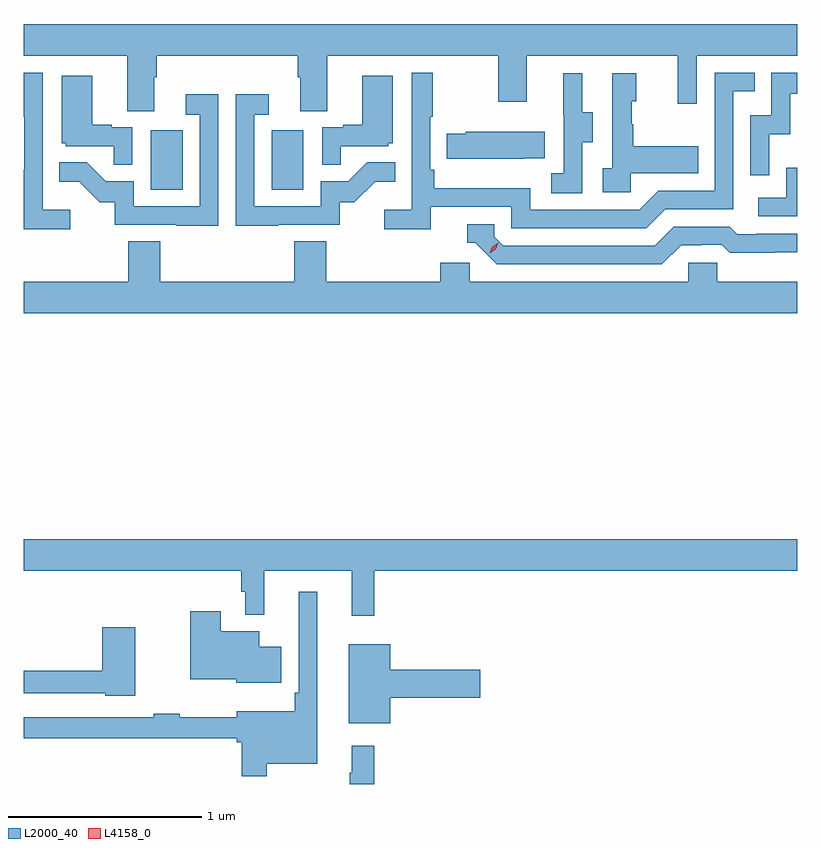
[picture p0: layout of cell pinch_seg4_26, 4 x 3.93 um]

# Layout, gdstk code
import gdstk
lib = gdstk.Library(unit=1e-6, precision=1e-09)
def R(c, l, rs):  # rectangles x0, y0, x1, y1
    for r in rs: c.add(gdstk.rectangle(r[:2], r[2:], *l))
def P(c, l, *ps):  # polygons
    for p in ps: c.add(gdstk.Polygon(p, *l))
L2000_40 = (2000, 40)
L4158_0 = (4158, 0)

pinch_seg4_26 = lib.new_cell('pinch_seg4_26')
R(pinch_seg4_26, L2000_40, [(1107.086,824.1,1107.25,824.407), (1107.71,824.1,1107.874,824.407)])
P(pinch_seg4_26, L2000_40, [(1107.103,824.68),(1107.116,824.68),(1107.116,824.792),(1107.845,824.792),(1107.845,824.68),(1107.857,824.68),(1107.857,824.506),(1107.997,824.506),(1107.997,824.792),(1108.882,824.792),(1108.882,824.553),(1109.029,824.553),(1109.029,824.792),(1109.81,824.792),(1109.81,824.544),(1109.907,824.544),(1109.907,824.792),(1110.428,824.792),(1110.428,824.956),(1106.428,824.956),(1106.428,824.792),(1106.963,824.792),(1106.963,824.506),(1107.103,824.506)],
  [(1106.668,823.996),(1106.526,823.996),(1106.526,824.704),(1106.428,824.704),(1106.428,824.476),(1106.43,824.476),(1106.43,824.203),(1106.428,824.203),(1106.428,824.01),(1106.429,824.01),(1106.429,823.894),(1106.668,823.894)],
  [(1108.532,824.01),(1108.95,824.01),(1108.95,823.899),(1109.647,823.899),(1109.746,823.998),(1110.096,823.998),(1110.096,824.607),(1110.209,824.607),(1110.209,824.703),(1110,824.703),(1110,824.094),(1109.709,824.094),(1109.61,823.995),(1109.046,823.995),(1109.046,824.107),(1108.55,824.107),(1108.55,824.203),(1108.53,824.203),(1108.53,824.476),(1108.543,824.476),(1108.543,824.704),(1108.434,824.704),(1108.434,823.996),(1108.293,823.996),(1108.293,823.894),(1108.532,823.894)],
  [(1110.282,824.387),(1110.392,824.387),(1110.392,824.595),(1110.428,824.595),(1110.428,824.703),(1110.294,824.703),(1110.294,824.484),(1110.186,824.484),(1110.186,824.175),(1110.282,824.175)],
  [(1109.568,824.183),(1109.915,824.183),(1109.915,824.323),(1109.581,824.323),(1109.581,824.438),(1109.571,824.438),(1109.571,824.556),(1109.596,824.556),(1109.596,824.701),(1109.472,824.701),(1109.472,824.21),(1109.421,824.21),(1109.421,824.085),(1109.568,824.085)],
  [(1109.316,824.344),(1109.371,824.344),(1109.371,824.499),(1109.317,824.499),(1109.317,824.701),(1109.219,824.701),(1109.219,824.487),(1109.22,824.487),(1109.22,824.183),(1109.157,824.183),(1109.157,824.08),(1109.316,824.08)],
  [(1106.988,824.421),(1106.882,824.421),(1106.882,824.434),(1106.782,824.434),(1106.782,824.689),(1106.624,824.689),(1106.624,824.34),(1106.646,824.34),(1106.646,824.325),(1106.893,824.325),(1106.893,824.227),(1106.988,824.227)],
  [(1108.067,824.325),(1108.314,824.325),(1108.314,824.34),(1108.336,824.34),(1108.336,824.689),(1108.178,824.689),(1108.178,824.434),(1108.079,824.434),(1108.079,824.421),(1107.972,824.421),(1107.972,824.227),(1108.067,824.227)],
  [(1107.435,824.593),(1107.267,824.593),(1107.267,824.487),(1107.339,824.487),(1107.339,824.013),(1106.997,824.013),(1106.997,824.142),(1106.853,824.142),(1106.755,824.24),(1106.611,824.24),(1106.611,824.141),(1106.715,824.141),(1106.822,824.034),(1106.899,824.034),(1106.899,823.917),(1107.217,823.917),(1107.217,823.912),(1107.435,823.912)],
  [(1107.743,823.917),(1108.062,823.917),(1108.062,824.034),(1108.138,824.034),(1108.245,824.141),(1108.349,824.141),(1108.349,824.24),(1108.205,824.24),(1108.107,824.142),(1107.963,824.142),(1107.963,824.013),(1107.621,824.013),(1107.621,824.487),(1107.694,824.487),(1107.694,824.593),(1107.525,824.593),(1107.525,823.912),(1107.743,823.912)],
  [(1109.015,824.261),(1109.123,824.261),(1109.123,824.398),(1108.713,824.398),(1108.713,824.388),(1108.615,824.388),(1108.615,824.258),(1109.015,824.258)],
  [(1110.428,824.212),(1110.372,824.212),(1110.372,824.058),(1110.225,824.058),(1110.225,823.962),(1110.428,823.962)],
  [(1109.827,823.812),(1109.934,823.812),(1109.934,823.815),(1110.037,823.815),(1110.079,823.773),(1110.312,823.773),(1110.312,823.775),(1110.428,823.775),(1110.428,823.872),(1110.217,823.872),(1110.217,823.869),(1110.118,823.869),(1110.079,823.908),(1109.79,823.908),(1109.691,823.809),(1108.908,823.809),(1108.86,823.857),(1108.86,823.92),(1108.721,823.92),(1108.721,823.824),(1108.764,823.824),(1108.875,823.713),(1109.728,823.713)],
  [(1110.428,823.624),(1110.015,823.624),(1110.015,823.722),(1109.865,823.722),(1109.865,823.624),(1108.734,823.624),(1108.734,823.722),(1108.583,823.722),(1108.583,823.624),(1107.992,823.624),(1107.992,823.832),(1107.827,823.832),(1107.827,823.624),(1107.134,823.624),(1107.134,823.832),(1106.969,823.832),(1106.969,823.624),(1106.428,823.624),(1106.428,823.46),(1110.428,823.46)],
  [(1108.241,822.128),(1110.428,822.128),(1110.428,822.292),(1106.428,822.292),(1106.428,822.128),(1107.553,822.128),(1107.553,822.021),(1107.573,822.021),(1107.573,821.9),(1107.671,821.9),(1107.671,822.128),(1108.124,822.128),(1108.124,821.895),(1108.241,821.895)],
  [(1107.685,821.132),(1107.946,821.132),(1107.946,822.019),(1107.849,822.019),(1107.849,821.497),(1107.829,821.497),(1107.829,821.401),(1107.53,821.401),(1107.53,821.372),(1107.234,821.372),(1107.234,821.39),(1107.1,821.39),(1107.1,821.37),(1106.428,821.37),(1106.428,821.262),(1107.53,821.262),(1107.53,821.243),(1107.556,821.243),(1107.556,821.067),(1107.685,821.067)],
  [(1107.76,821.737),(1107.646,821.737),(1107.646,821.815),(1107.448,821.815),(1107.448,821.92),(1107.29,821.92),(1107.29,821.567),(1107.528,821.567),(1107.528,821.549),(1107.76,821.549)],
  [(1107.004,821.836),(1106.834,821.836),(1106.834,821.612),(1106.428,821.612),(1106.428,821.496),(1106.85,821.496),(1106.85,821.483),(1107.004,821.483)],
  [(1108.324,821.471),(1108.789,821.471),(1108.789,821.618),(1108.324,821.618),(1108.324,821.749),(1108.109,821.749),(1108.109,821.339),(1108.324,821.339)],
  [(1108.241,821.224),(1108.124,821.224),(1108.124,821.084),(1108.113,821.084),(1108.113,821.026),(1108.241,821.026)])
P(pinch_seg4_26, L4158_0, [(1108.838,823.77),(1108.838,823.771),(1108.852,823.804),(1108.882,823.824),(1108.883,823.824),(1108.883,823.824),(1108.868,823.791),(1108.838,823.77)])

lib.write_gds('pinch_seg4_26.gds')
